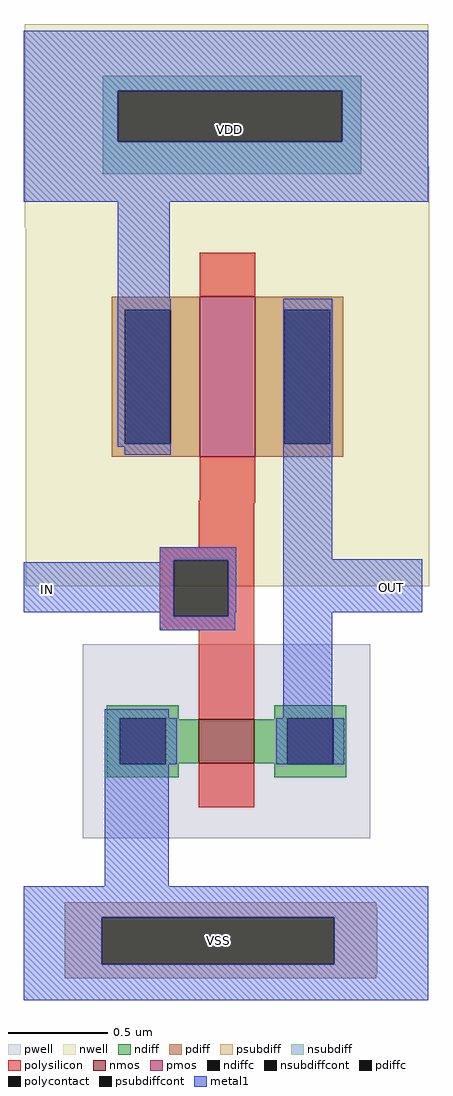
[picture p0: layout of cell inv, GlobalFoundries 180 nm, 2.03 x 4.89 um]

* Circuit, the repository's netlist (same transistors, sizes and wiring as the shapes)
* NGSPICE file created from inv.ext - technology: gf180mcuC

.subckt pmos_3p3_MQGBLR a_n28_n124# a_n116_n80# a_28_n80# w_n202_n210#
X0 a_28_n80# a_n28_n124# a_n116_n80# w_n202_n210# pfet_03v3 ad=0.352p pd=2.48u as=0.352p ps=2.48u w=0.8u l=0.28u
.ends

.subckt nmos_3p3_DDNVWA a_n120_n36# a_28_n22# a_n28_n66# VSUBS
X0 a_28_n22# a_n28_n66# a_n120_n36# VSUBS nfet_03v3 ad=0.152p pd=1.64u as=0.152p ps=1.64u w=0.22u l=0.28u
.ends

.subckt inv IN VDD VSS OUT
Xpmos_3p3_MQGBLR_0 IN VDD OUT VDD pmos_3p3_MQGBLR
Xnmos_3p3_DDNVWA_0 VSS OUT IN VSS nmos_3p3_DDNVWA
.ends

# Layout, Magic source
magic
tech gf180mcuC
magscale 1 10
<< nwell >>
rect -60 831 344 1035
rect 114 556 171 558
<< psubdiff >>
rect -20 151 292 156
rect -20 141 293 151
rect -20 94 17 141
rect 250 94 293 141
rect -20 84 293 94
rect -20 80 292 84
<< nsubdiff >>
rect 18 968 277 983
rect 18 917 33 968
rect 258 917 277 968
rect 18 885 277 917
<< psubdiffcont >>
rect 17 94 250 141
<< nsubdiffcont >>
rect 33 917 258 968
<< polysilicon >>
rect 114 556 171 558
rect 114 511 170 556
rect 75 498 170 511
rect 75 442 89 498
rect 144 442 170 498
rect 75 428 170 442
rect 114 383 170 428
<< polycontact >>
rect 89 442 144 498
<< metal1 >>
rect -61 968 344 1028
rect -61 917 33 968
rect 258 917 344 968
rect -61 857 344 917
rect 33 612 85 857
rect 75 498 152 511
rect 75 496 89 498
rect -61 446 89 496
rect 75 442 89 446
rect 144 446 152 498
rect 199 499 248 760
rect 199 446 338 499
rect 144 442 151 446
rect 75 428 151 442
rect 20 172 84 349
rect 199 294 248 446
rect -61 141 344 172
rect -61 94 17 141
rect 250 94 344 141
rect -61 58 344 94
use nmos_3p3_DDNVWA  nmos_3p3_DDNVWA_0
transform 1 0 142 0 1 317
box -144 -97 144 97
use pmos_3p3_MQGBLR  pmos_3p3_MQGBLR_0
transform 1 0 143 0 1 682
box -202 -210 202 210
<< labels >>
flabel psubdiffcont 134 118 134 118 0 FreeSans 480 0 0 0 VSS
port 6 nsew
flabel metal1 -37 469 -37 469 0 FreeSans 320 0 0 0 IN
port 8 nsew
flabel metal1 307 471 307 471 0 FreeSans 320 0 0 0 OUT
port 9 nsew
flabel nsubdiffcont 145 929 145 929 0 FreeSans 480 0 0 0 VDD
port 5 nsew
<< end >>

# cell nmos_3p3_DDNVWA: kit device nmos_3p3, w 0.220 l 0.280 m 1 nf 1 diffcov 100 polycov 100 guard 0 glc 0 grc 0 gtc 0 gbc 0 tbcov 100 rlcov 100 topc 0 botc 0 poverlap 0 doverlap 1 lmin 0.28 wmin 0.22 full_metal 0 compatible {nmos_3p3 nmos_6p0 nmos_6p0_nat}

# cell pmos_3p3_MQGBLR: kit device pmos_3p3, w 0.8 l 0.280 m 1 nf 1 diffcov 100 polycov 100 guard 0 glc 0 grc 0 gtc 0 gbc 0 tbcov 100 rlcov 100 topc 0 botc 0 poverlap 0 doverlap 1 lmin 0.28 wmin 0.22 full_metal 0 compatible {pmos_3p3 pmos_6p0}
